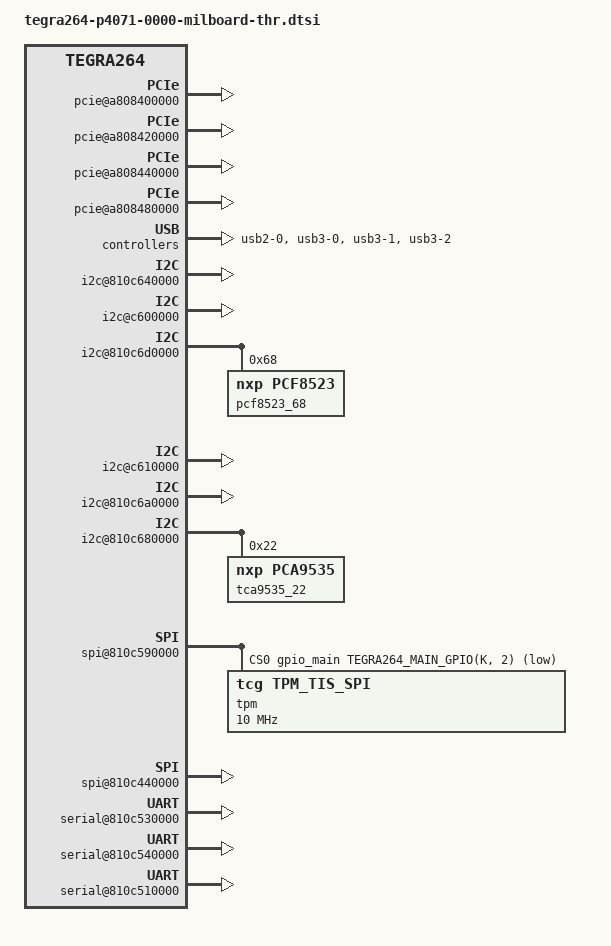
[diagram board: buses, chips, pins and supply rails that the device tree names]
// SPDX-License-Identifier: GPL-2.0-only
// SPDX-FileCopyrightText: Copyright (c) 2025, NVIDIA CORPORATION & AFFILIATES.  All rights reserved.

#include <dt-bindings/clock/tegra264-clk.h>
#include <dt-bindings/gpio/tegra264-gpio.h>
#include "tegra264-p4071-0080-p3834-0008-dcb-quad-hdmi.dtsi"

/ {
	aliases {
		rtc2 = &pcf8523_68;
	};

	display@8808c00000 {
		status = "okay";
		os_gpio_hotplug_a = <&gpio_main TEGRA264_MAIN_GPIO(F, 3) GPIO_ACTIVE_LOW>;
		os_gpio_hotplug_b = <&gpio_main TEGRA264_MAIN_GPIO(F, 4) GPIO_ACTIVE_LOW>;
		os_gpio_hotplug_c = <&gpio_main TEGRA264_MAIN_GPIO(F, 5) GPIO_ACTIVE_LOW>;
		os_gpio_hotplug_d = <&gpio_main TEGRA264_MAIN_GPIO(F, 6) GPIO_ACTIVE_LOW>;
	};

	bus@0 {
		pcie@a808400000 { // PCIe C1 for M.2 Key-M
			status = "okay";
		};
		pcie@a808420000 { // PCIe C2
			status = "okay";
		};
		pcie@a808440000 { // PCIe C3 for M.2 Key-M
			status = "okay";
		};
		pcie@a808460000 { // PCIe C4
			status = "disabled";
		};
		pcie@a808480000 { // PCIe C5 for M.2 Key-M
			status = "okay";
		};
		pcie_ep@a808420000 { // PCIe C2 EP
			status = "disabled";
		};
		pcie_ep@a808460000 { // PCIe C4 EP
			status = "disabled";
		};
		pcie_ep@a808480000 { // PCIe C5 EP
			status = "disabled";
		};

		padctl@a808680000 {
			ports {
				usb2-0 {
					mode = "otg";
                                        usb-role-switch;
                                        role-switch-default-mode = "peripheral";
                                        status = "okay";
				};
				usb3-0 {
					nvidia,usb2-companion = <1>;
					status = "okay";
				};
				usb3-1 { // Recovery USB
					nvidia,usb2-companion = <0>;
					status = "okay";
				};
				usb3-2 {
					nvidia,usb2-companion = <2>;
					status = "okay";
				};
			};
		};

		i2c@810c640000 { // I2C1 (CAM_I2C)
			status = "okay";
		};

		i2c@c600000 { // I2C2
			status = "okay";
		};

		i2c@810c6d0000 { // I2C3
			status = "okay";

			pcf8523_68: pcf8523@68 { // RTC
				status = "okay";
				compatible = "nxp,pcf8523";
				reg = <0x68>;
			};
		};

		i2c@c610000 { // I2C4
			status = "okay";
			// EEPROM CAT24C04WI-GT3 - 0x56
			// IMU & Temp Sensor 2536030320001 - 0x6B
		};

		i2c@810c6a0000 { // I2C5
			status = "okay";
		};

		i2c@810c680000 { // I2C8
			status = "okay";

			tca9535_22: tca9535@22 {
				status = "okay";
				compatible = "nxp,pca9535";
				reg = <0x22>;
				gpio-controller;
				#gpio-cells = <2>;
				gpio-line-names = 
				    "SERIAL_CH0.RS485/RS232#",
				    "SERIAL_CH0.TERM",
				    "SERIAL_CH1.RS485/RS232#",
				    "SERIAL_CH1.TERM",
				    "SERIAL_CH2.RS485/RS232#",
				    "SERIAL_CH2.TERM",
				    "SERIAL_CH3.RS485/RS232#",
				    "SERIAL_CH3.TERM",
				    "DIGITAL_IO_CH0",
				    "DIGITAL_IO_CH1",
				    "DIGITAL_IO_CH2",
				    "DIGITAL_IO_CH3",
				    "DIGITAL_IO_CH4",
				    "DIGITAL_IO_CH5",
				    "DIGITAL_IO_CH6",
				    "DIGITAL_IO_CH7";
			};
		};

		spi@810c590000 { // SPI1
			status = "okay";
			num-cs = <1>;
			cs-gpios = <&gpio_main TEGRA264_MAIN_GPIO(K, 2) GPIO_ACTIVE_LOW>;
			/delete-node/ spi@0;
			/delete-node/ spi@1;

			tpm@0 {
				compatible = "tcg,tpm_tis_spi";
				reg = <0>;
				spi-max-frequency = <10000000>;
				status = "okay";

				controller-data {
					nvidia,variable-length-transfer;
					nvidia,rx-clk-tap-delay = <0x10>;
				};
			};
		};

		spi@810c440000 { // SPI3
			status = "okay";
			num-cs = <2>;
			cs-gpios = <&gpio_main TEGRA264_MAIN_GPIO(J, 1) GPIO_ACTIVE_LOW>,
			           <&gpio_main TEGRA264_MAIN_GPIO(J, 2) GPIO_ACTIVE_LOW>;
		};

		serial@810c530000 { // UART1 for Channel-0 RS232-422
			status = "okay";
		};
		serial@810c540000 { // UART2 for Channel-1 RS232-422
			status = "okay";
		};
		serial@c5f0000 { // UART3 (Debug) for Channel-2 RS232-422
			status = "disabled";
		};
		serial@810c510000 { // UART5 for Channel-3 RS232-422
			status = "okay";
		};
	};
};
